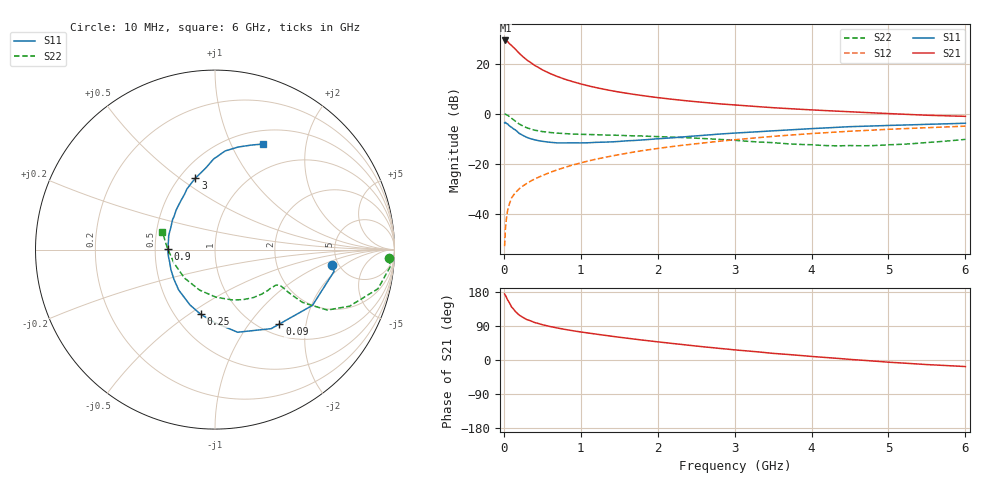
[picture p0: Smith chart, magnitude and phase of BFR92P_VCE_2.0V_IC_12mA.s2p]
! Infineon Technologies  Discrete & RF Semiconductors
! BFR92P
! VCE =  2.0 V,  IC =  12 mA
! Common Emitter S-Parameters:  Apr 2014
# GHz  S  MA  R  50
!  f  S11  S21  S12  S22
! GHz  MAG  ANG  MAG  ANG  MAG  ANG  MAG  ANG
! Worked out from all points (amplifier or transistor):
!   77 points, 10 MHz to 6 GHz, reference 50 ohm
!   highest |S21| = 29.2 dB at 20 MHz (marker M1)
!   |S21| within 3 dB of that: start of sweep to 133.4 MHz
!   unconditionally stable (mu >= 1): 623.2 MHz to 2.586 GHz
!   at 130 MHz: K = 0.44, MSG = 29.3 dB, |S12| = -32.3 dB
!   at 2.2 GHz: K = 1.02, MAG = 8.4 dB, |S12| = -13.0 dB
!   at 6 GHz: K = 0.90, MSG = 2.0 dB, |S12| = -4.9 dB
!   S11 on the Smith chart (normalised r, x): 10 MHz: 4.40, -1.35; 90 MHz: 1.20, -1.42; 250 MHz: 0.67, -0.56; 900 MHz: 0.58, +0.00; 3 GHz: 0.60, +0.57; 6 GHz: 0.66, +1.34
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0.01  0.6573 -7.6  28.58 174.0  0.0023 92.9  0.9697 -2.9
0.02  0.6744 -10.4  28.86 170.9  0.005 88.3  0.981 -5.6
0.05  0.6257 -29.8  27.29 158.2  0.0121 79.2  0.9337 -13.5
0.09  0.5484 -49.1  23.59 144.2  0.0191 69.8  0.8356 -20.7
0.1  0.5404 -54.6  22.93 140.1  0.0209 68.4  0.8135 -22.8
0.15  0.4774 -74.7  19.34 128.0  0.0267 65.3  0.7104 -28.3
0.2  0.4061 -90.4  16.02 118.5  0.032 63.0  0.6242 -29.9
0.25  0.3691 -102.5  13.63 112.2  0.0366 62.9  0.5694 -31.1
0.3  0.3381 -114.4  11.75 106.6  0.0411 63.0  0.5236 -30.8
0.4  0.3028 -131.9  9.21 98.9  0.0501 65.2  0.4708 -30.2
0.5  0.2824 -144.0  7.513 93.2  0.0586 65.7  0.4421 -29.4
0.6  0.2703 -155.2  6.34 88.4  0.0679 66.6  0.423 -29.0
0.7  0.2621 -164.5  5.486 84.3  0.0768 67.5  0.4108 -28.9
0.9  0.2631 179.6  4.339 77.1  0.0956 67.8  0.3942 -30.2
1.1  0.2643 168.5  3.595 71.1  0.1149 67.5  0.3863 -32.2
1.5  0.281 149.3  2.705 60.1  0.1535 65.0  0.3717 -38.0
2.1  0.3247 127.5  2.015 45.7  0.2133 60.0  0.3464 -49.1
3  0.4123 105.4  1.498 26.7  0.3028 50.8  0.296 -71.2
3.1  0.4204 103.5  1.46 25.0  0.3128 49.4  0.2879 -74.4
4.1  0.5144 89.3  1.173 7.9  0.4117 37.3  0.2358 -115.8
5.1  0.5902 76.2  0.993 -7.0  0.4971 23.9  0.2435 -166.6
6  0.647 65.4  0.888 -17.3  0.5663 12.0  0.3085 161.6
